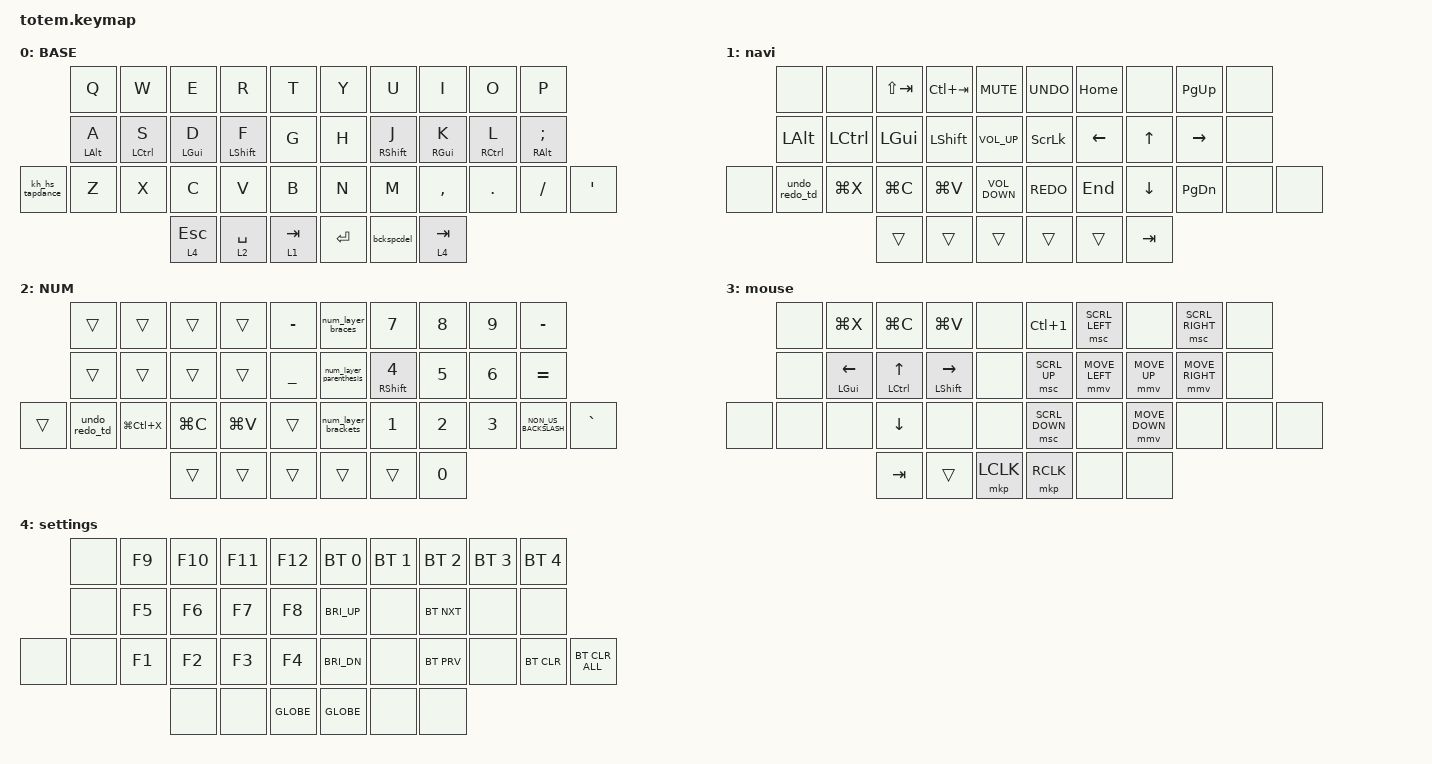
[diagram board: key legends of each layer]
//
//                                                        ▀▀▀▀▀     ▀▀▀▀▀          ▀▀█▀▀
//                                                        ▄▀▀▀▄  ▄  ▄▀▀▀▄  ▄  ▄▀▀▀▄  █  ▄▀▀▀▄
//                                                        █   █  █  █   █  █  █   █  █  █   █
//                                                         ▀▀▀   █   ▀▀▀   █   ▀▀▀   ▀   ▀▀▀
//                                                               █      ▄▄▄█▄▄▄    █   █  
//                                                               ▀      █  █  █     █▄█
//                                                             ▀▀▀▀▀    █  █  █      ▀
//                                                                      ▀  ▀  ▀
//
// ▄▄▄▄▄▄▄▄▄▄▄▄▄▄▄▄▄▄▄▄▄▄▄▄▄▄▄▄▄▄▄▄▄▄▄▄▄▄▄▄▄▄▄▄▄▄▄▄▄▄▄▄▄▄▄▄▄▄▄▄▄▄▄▄▄▄▄▄▄▄▄▄▄▄▄▄▄▄▄▄▄▄▄▄▄▄▄▄▄▄▄▄▄▄▄▄▄▄▄▄▄▄▄▄▄▄▄▄▄▄▄▄▄▄▄▄▄▄▄▄▄▄▄▄▄▄▄▄▄▄▄▄▄▄▄▄▄▄▄▄▄▄▄▄▄▄▄▄▄

#define BASE 0
#define MATH 1
#define SYMB 2
#define ADJU  3

#include <behaviors.dtsi>
#include <dt-bindings/zmk/bt.h>
#include <dt-bindings/zmk/keys.h>
#include <dt-bindings/zmk/pointing.h>

/ {
    combos {
        compatible = "zmk,combos";

        combo_esc {
            timeout-ms = <50>;
            key-positions = <0 1>;
            bindings = <&kp ESC>;
        };

        navi_layer {
            bindings = <&tog 1>;
            key-positions = <33 36>;
            timeout-ms = <70>;
        };

        mouse_layer {
            bindings = <&tog 3>;
            key-positions = <34 35>;
            timeout-ms = <70>;
        };

        Settings {
            bindings = <&tog 4>;
            key-positions = <32 37>;
            timeout-ms = <70>;
        };
    };

    behaviors {
        bckspcdel: bckspcdel {
            compatible = "zmk,behavior-mod-morph";
            label = "BCKSPCDEL";
            bindings = <&kp BACKSPACE>, <&kp DELETE>;

            #binding-cells = <0>;
            mods = <(MOD_LSFT|MOD_RSFT)>;
        };

        kh_hs_tapdance: kh_hs_tapdance {
            compatible = "zmk,behavior-tap-dance";
            label = "KH_HS_TAPDANCE";
            #binding-cells = <0>;
            tapping-term-ms = <200>;
            bindings = <&kp LEFT_BRACKET>, <&kp RIGHT_BRACKET>;
        };

        hrm: hrm {
            compatible = "zmk,behavior-hold-tap";
            #binding-cells = <2>;
            flavor = "tap-preferred";
            tapping-term-ms = <200>;
            quick-tap-ms = <200>;
            require-prior-idle-ms = <125>;
            bindings = <&kp>, <&kp>;
        };

        num_layer_parenthesis: num_layer_parenthesis {
            compatible = "zmk,behavior-tap-dance";
            label = "NUM_LAYER_PARENTHESIS";
            #binding-cells = <0>;
            bindings = <&kp LEFT_PARENTHESIS>, <&kp RIGHT_PARENTHESIS>;
        };

        num_layer_brackets: num_layer_brackets {
            compatible = "zmk,behavior-tap-dance";
            label = "NUM_LAYER_BRACKETS";
            #binding-cells = <0>;
            bindings = <&kp LBKT>, <&kp RBKT>;
        };

        num_layer_braces: num_layer_braces {
            compatible = "zmk,behavior-tap-dance";
            label = "NUM_LAYER_BRACES";
            #binding-cells = <0>;
            bindings = <&kp LBRC>, <&kp RBRC>;
        };

        cmd_esc_td: cmd_esc_td {
            compatible = "zmk,behavior-tap-dance";
            label = "CMD_ESC_TD";
            #binding-cells = <0>;
            bindings = <&kp LEFT_GUI>, <&kp ESC>;

            tapping-term-ms = <150>;
        };

        undo_redo_td: undo_redo_td {
            compatible = "zmk,behavior-tap-dance";
            label = "UNDO_REDO_TD";
            #binding-cells = <0>;
            bindings = <&kp LG(Z)>, <&kp LG(LS(Z))>;
        };

        up_n_scroll: up_n_scroll {
            compatible = "zmk,behavior-mod-morph";
            label = "UP_N_SCROLL";
            bindings = <&kp UP_ARROW>, <&kp K_SCROLL_UP>;

            #binding-cells = <0>;
            mods = <(MOD_LSFT)>;
        };

        down_n_scroll: down_n_scroll {
            compatible = "zmk,behavior-mod-morph";
            label = "DOWN_N_SCROLL";
            bindings = <&kp DOWN_ARROW>, <&kp K_SCROLL_DOWN>;

            #binding-cells = <0>;
            mods = <(MOD_LSFT)>;
        };
    };

    keymap {
        compatible = "zmk,keymap";

        base {
            label = "BASE";
            bindings = <
                 &kp Q            &kp W                &kp E            &kp R         &kp T        &kp Y    &kp U         &kp I             &kp O                 &kp P
                 &hrm LEFT_ALT A  &hrm LEFT_CONTROL S  &hrm LEFT_GUI D  &hrm LSHFT F  &kp G        &kp H    &hrm RSHFT J  &hrm RIGHT_GUI K  &hrm RIGHT_CONTROL L  &hrm RALT SEMICOLON
&kh_hs_tapdance  &kp Z            &kp X                &kp C            &kp V         &kp B        &kp N    &kp M         &kp COMMA         &kp DOT               &kp FSLH             &kp SQT
                                                       &lt 4 ESCAPE     &lt 2 SPACE   &lt 1 TAB    &kp RET  &bckspcdel    &lt 4 TAB
            >;
        };

        navi {
            bindings = <
       &none          &none             &kp LS(TAB)   &kp LC(TAB)     &kp K_MUTE           &kp K_UNDO      &kp HOME  &none           &kp PG_UP      &none
       &kp LEFT_ALT   &kp LEFT_CONTROL  &kp LEFT_GUI  &kp LEFT_SHIFT  &kp C_VOLUME_UP      &kp SCROLLLOCK  &kp LEFT  &kp UP_ARROW    &kp RIGHT      &none
&none  &undo_redo_td  &kp LG(X)         &kp LG(C)     &kp LG(V)       &kp C_VOLUME_DOWN    &kp K_REDO      &kp END   &kp DOWN_ARROW  &kp PAGE_DOWN  &none  &none
                                        &trans        &trans          &trans               &trans          &trans    &kp TAB
            >;
        };

        Num {
            label = "NUM";
            bindings = <
        &trans         &trans         &trans     &trans     &kp MINUS    &num_layer_braces       &kp N7                     &kp N8  &kp N9  &kp MINUS
        &trans         &trans         &trans     &trans     &kp UNDER    &num_layer_parenthesis  &hrm RIGHT_SHIFT NUMBER_4  &kp N5  &kp N6  &kp EQUAL
&trans  &undo_redo_td  &kp LG(LC(X))  &kp LG(C)  &kp LG(V)  &trans       &num_layer_brackets     &kp N1                     &kp N2  &kp N3  &kp NON_US_BACKSLASH  &kp GRAVE
                                      &trans     &trans     &trans       &trans                  &trans                     &kp N0
            >;
        };

        mouse {
            bindings = <
       &none  &kp LG(X)                 &kp LG(C)                   &kp LG(V)              &none        &kp LC(NUMBER_1)  &msc SCRL_LEFT  &none           &msc SCRL_RIGHT  &none
       &none  &hrm LEFT_GUI LEFT_ARROW  &hrm LEFT_CONTROL UP_ARROW  &hrm LEFT_SHIFT RIGHT  &none        &msc SCRL_UP      &mmv MOVE_LEFT  &mmv MOVE_UP    &mmv MOVE_RIGHT  &none
&none  &none  &none                     &kp DOWN_ARROW              &none                  &none        &msc SCRL_DOWN    &none           &mmv MOVE_DOWN  &none            &none  &none
                                        &kp TAB                     &trans                 &mkp LCLK    &mkp RCLK         &none           &none
            >;
        };

        settings {
            label = "settings";
            bindings = <
       &none  &kp F9  &kp F10  &kp F11  &kp F12      &bt BT_SEL 0  &bt BT_SEL 1  &bt BT_SEL 2  &bt BT_SEL 3  &bt BT_SEL 4
       &none  &kp F5  &kp F6   &kp F7   &kp F8       &kp C_BRI_UP  &none         &bt BT_NXT    &none         &none
&none  &none  &kp F1  &kp F2   &kp F3   &kp F4       &kp C_BRI_DN  &none         &bt BT_PRV    &none         &bt BT_CLR    &bt BT_CLR_ALL
                      &none    &none    &kp GLOBE    &kp GLOBE     &none         &none
            >;
        };
    };
};
